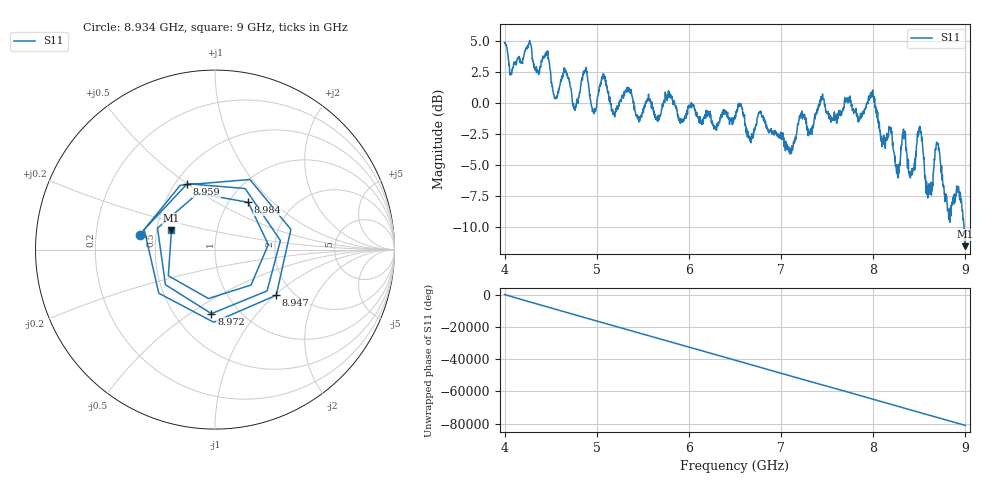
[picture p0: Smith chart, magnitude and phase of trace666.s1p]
! Created with skrf 1.8.0 (http://scikit-rf.org).
# Hz S RI R 50.0
!freq ReS11 ImS11
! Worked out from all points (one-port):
!   1601 points, 4 GHz to 9 GHz, reference 50 ohm
!   lowest |S11| = -11.5 dB at 9 GHz (marker M1), VSWR 1.72, Z = 29.9 + j6.88 ohm
!   |S11| at or under -10 dB: 8.984959 GHz to end of sweep
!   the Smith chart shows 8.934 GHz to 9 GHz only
!   S11 on the Smith chart (normalised r, x): 8.934 GHz: 0.41, +0.08; 8.947 GHz: 1.64, -1.02; 8.959 GHz: 0.57, +0.50; 8.972 GHz: 0.75, -0.61; 8.984 GHz: 1.22, +0.72; 9 GHz: 0.60, +0.14
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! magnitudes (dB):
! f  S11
! 4 GHz  4.9
! 4.456 GHz  4.0
! 4.55 GHz  0.4
! 4.625 GHz  2.1
! 4.756 GHz  -0.4
! 4.872 GHz  2.6
! 4.962 GHz  -0.5
! 5.072 GHz  2.3
! 5.25 GHz  0.2
! 5.875 GHz  -0.9
! 6.5 GHz  -1.3
! 7.125 GHz  -3.7
! 7.441 GHz  0.4
! 7.75 GHz  0.4
! 7.991 GHz  0.7
! 8.259 GHz  -5.7
! 8.325 GHz  -2.7
! 8.375 GHz  -4.5
! 8.503 GHz  -1.9
! 8.594 GHz  -7.0
! 8.697 GHz  -3.2
! 8.819 GHz  -9.2
! 8.934 GHz  -7.4
! 8.947 GHz  -7.4
! 8.959 GHz  -8.0
! 8.972 GHz  -8.9
! 8.984 GHz  -9.8
! 9 GHz  -11.5
